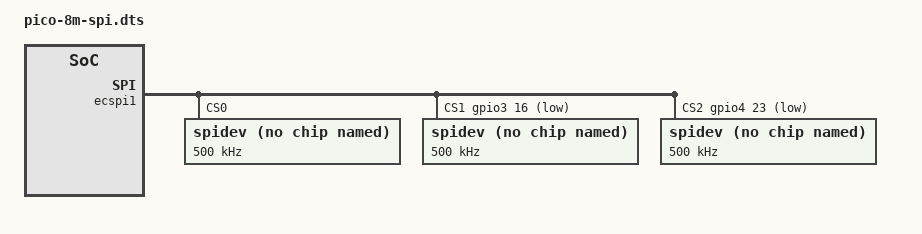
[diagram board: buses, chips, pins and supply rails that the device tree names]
#include "pico-8m.dts"

&iomuxc {
	pinctrl-names = "default";

	pico-8m {
		pinctrl_ecspi1: ecspi1grp {
			fsl,pins = <
				MX8MQ_IOMUXC_ECSPI1_MISO_ECSPI1_MISO   0x19
				MX8MQ_IOMUXC_ECSPI1_MOSI_ECSPI1_MOSI   0x19
				MX8MQ_IOMUXC_ECSPI1_SCLK_ECSPI1_SCLK   0x19
			>;
		};
		pinctrl_ecspi1_cs: ecspi1grp_cs {
			fsl,pins = <
				MX8MQ_IOMUXC_ECSPI1_SS0_ECSPI1_SS0     0x19 /* hw CS0 */
				MX8MQ_IOMUXC_NAND_READY_B_GPIO3_IO16   0x19 /* CS 1 */
				MX8MQ_IOMUXC_SAI2_RXD0_GPIO4_IO23      0x19 /* CS 2*/
			>;
		};
	};
};

&ecspi1 {
	pinctrl-names = "default";
	pinctrl-0 = <&pinctrl_ecspi1 &pinctrl_ecspi1_cs>;
	status = "okay";

	num-cs = <3>;
	cs-gpios =
		<0>,  /* hw CS0 */
		<&gpio3 16 GPIO_ACTIVE_LOW> /* CS1 */,
		<&gpio4 23 GPIO_ACTIVE_LOW>; /* CS2 */

	spidev@0 {
		compatible = "spidev";
		reg = <0>;	/* CS0 */
		spi-max-frequency = <500000>;
		#address-cells = <1>;
		#size-cells = <0>;
	};

	spidev@1 {
		compatible = "spidev";
		reg = <1>;	/* CS1 */
		spi-max-frequency = <500000>;
		#address-cells = <1>;
		#size-cells = <0>;
	};

	spidev@2 {
		compatible = "spidev";
		reg = <2>;	/* CS2 */
		spi-max-frequency = <500000>;
		#address-cells = <1>;
		#size-cells = <0>;
	};
};
